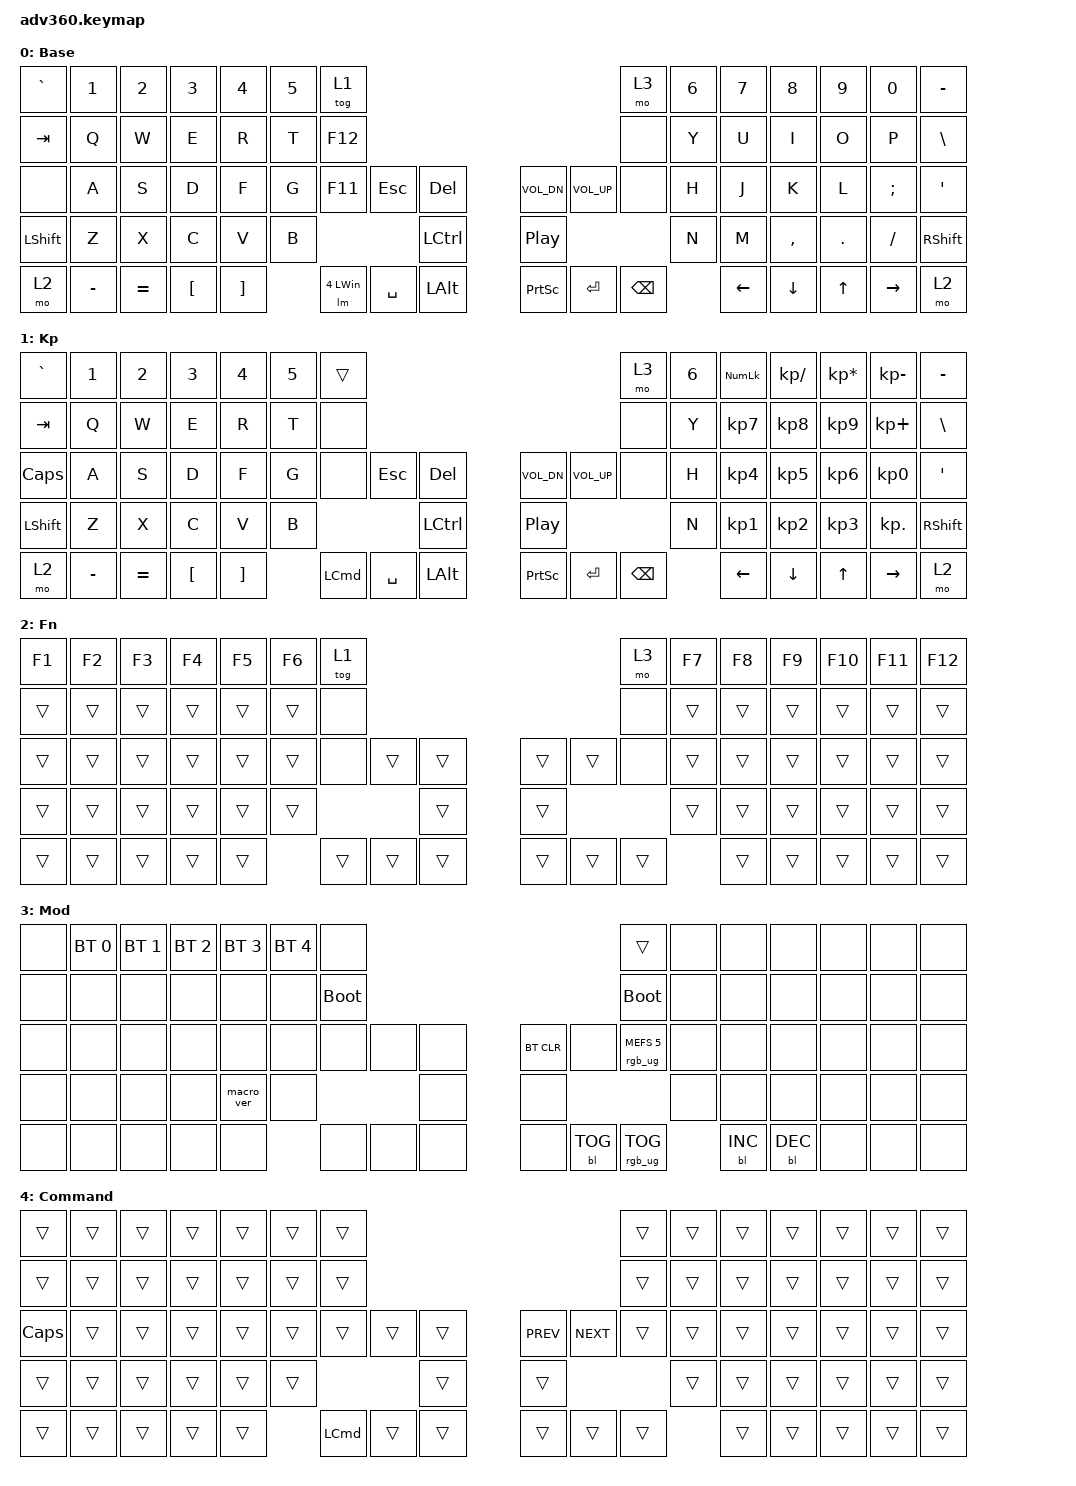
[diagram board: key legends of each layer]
#include <behaviors.dtsi>
#include <dt-bindings/zmk/keys.h>
#include <dt-bindings/zmk/bt.h>
#include <dt-bindings/zmk/rgb.h>
#include <dt-bindings/zmk/stp.h>
#include <dt-bindings/zmk/backlight.h>
#include <dt-bindings/zmk/pointing.h>

/ {
    behaviors {
      #include "macros.dtsi"
      #include "version.dtsi"

      hm: homerow_mods {
          compatible = "zmk,behavior-hold-tap";
          label = "HOMEROW_MODS";
          #binding-cells = <2>;
          tapping-term-ms = <200>;
          quick_tap_ms = <175>;
          flavor = "tap-preferred";
          bindings = <&kp>, <&kp>;
      };
    };

  keymap {
    compatible = "zmk,keymap";

    default_layer {
      display-name = "Base";
      bindings = <
        &kp GRAVE  &kp N1     &kp N2     &kp N3    &kp N4    &kp N5  &tog 1                                                                            &mo 3          &kp N6  &kp N7    &kp N8     &kp N9   &kp N0     &kp MINUS
        &kp TAB    &kp Q      &kp W      &kp E     &kp R     &kp T   &kp F12                                                                           &none          &kp Y   &kp U     &kp I      &kp O    &kp P      &kp BSLH
        &none      &kp A      &kp S      &kp D     &kp F     &kp G   &kp F11         &kp ESCAPE  &kp DELETE            &kp C_VOL_DN      &kp C_VOL_UP  &none          &kp H   &kp J     &kp K      &kp L    &kp SEMI   &kp SQT
        &kp LSHFT  &kp Z      &kp X      &kp C     &kp V     &kp B                               &kp LEFT_CONTROL      &kp C_PLAY_PAUSE                               &kp N   &kp M     &kp COMMA  &kp DOT  &kp FSLH   &kp RSHFT
        &mo 2      &kp MINUS  &kp EQUAL  &kp LBKT  &kp RBKT          &lm 4 LEFT_WIN  &kp SPACE   &kp LEFT_ALT          &kp PRINTSCREEN   &kp ENTER     &kp BACKSPACE          &kp LEFT  &kp DOWN   &kp UP   &kp RIGHT  &mo 2
      >;
    };

    keypad {
      display-name = "Kp";
      bindings = <
        &kp GRAVE  &kp N1     &kp N2     &kp N3    &kp N4    &kp N5  &trans                                                                             &mo 3          &kp N6  &kp KP_NUM  &kp KP_SLASH  &kp KP_MULTIPLY  &kp KP_MINUS     &kp MINUS
        &kp TAB    &kp Q      &kp W      &kp E     &kp R     &kp T   &none                                                                              &none          &kp Y   &kp KP_N7   &kp KP_N8     &kp KP_N9        &kp KP_PLUS      &kp BSLH
        &kp CAPS   &kp A      &kp S      &kp D     &kp F     &kp G   &none             &kp ESC    &kp DEL               &kp C_VOL_DN      &kp C_VOL_UP  &none          &kp H   &kp KP_N4   &kp KP_N5     &kp KP_N6        &kp KP_NUMBER_0  &kp SQT
        &kp LSHFT  &kp Z      &kp X      &kp C     &kp V     &kp B                                &kp LEFT_CONTROL      &kp C_PLAY_PAUSE                               &kp N   &kp KP_N1   &kp KP_N2     &kp KP_N3        &kp KP_DOT       &kp RSHFT
        &mo 2      &kp MINUS  &kp EQUAL  &kp LBKT  &kp RBKT          &kp LEFT_COMMAND  &kp SPACE  &kp LEFT_ALT          &kp PRINTSCREEN   &kp ENTER     &kp BACKSPACE          &kp LEFT    &kp DOWN      &kp UP           &kp RIGHT        &mo 2
      >;
    };

    fn {
      display-name = "Fn";
      bindings = <
        &kp F1 &kp F2 &kp F3 &kp F4 &kp F5 &kp F6 &tog 1                                           &mo 3 &kp F7 &kp F8 &kp F9 &kp F10 &kp F11 &kp F12
        &trans &trans &trans &trans &trans &trans  &none                                           &none &trans &trans &trans &trans  &trans  &trans
        &trans &trans &trans &trans &trans &trans  &none        &trans &trans &trans &trans        &none &trans &trans &trans &trans  &trans  &trans
        &trans &trans &trans &trans &trans &trans                      &trans &trans                     &trans &trans &trans &trans  &trans  &trans
        &trans &trans &trans &trans &trans               &trans &trans &trans &trans &trans &trans              &trans &trans &trans  &trans  &trans
      >;
    };

    mod {
      display-name = "Mod";
      bindings = <
        &none  &bt BT_SEL 0  &bt BT_SEL 1  &bt BT_SEL 2  &bt BT_SEL 3  &bt BT_SEL 4  &none                                                  &trans                  &none  &none       &none       &none  &none  &none
        &none  &none         &none         &none         &none         &none         &bootloader                                            &bootloader             &none  &none       &none       &none  &none  &none
        &none  &none         &none         &none         &none         &none         &none        &none  &none      &bt BT_CLR  &none       &rgb_ug RGB_MEFS_CMD 5  &none  &none       &none       &none  &none  &none
        &none  &none         &none         &none         &macro_ver    &none                             &none      &none                                           &none  &none       &none       &none  &none  &none
        &none  &none         &none         &none         &none                       &none        &none  &none      &none       &bl BL_TOG  &rgb_ug RGB_TOG                &bl BL_INC  &bl BL_DEC  &none  &none  &none
      >;
    };

    command {
      display-name = "Command";
      bindings = <
        &trans        &trans  &trans  &trans  &trans  &trans  &trans                                                        &trans  &trans  &trans  &trans  &trans  &trans  &trans
        &trans        &trans  &trans  &trans  &trans  &trans  &trans                                                        &trans  &trans  &trans  &trans  &trans  &trans  &trans
        &kp CAPSLOCK  &trans  &trans  &trans  &trans  &trans  &trans            &trans  &trans      &kp C_PREV  &kp C_NEXT  &trans  &trans  &trans  &trans  &trans  &trans  &trans
        &trans        &trans  &trans  &trans  &trans  &trans                            &trans      &trans                          &trans  &trans  &trans  &trans  &trans  &trans
        &trans        &trans  &trans  &trans  &trans          &kp LEFT_COMMAND  &trans  &trans      &trans      &trans      &trans          &trans  &trans  &trans  &trans  &trans
      >;
    };

    extra1 { 
      display-name = "Red";    
      status = "reserved";
    };

    extra2 { 
      display-name = "Purple";    
      status = "reserved";
    };

    extra3 { 
      display-name = "Cyan";    
      status = "reserved";
    };

    extra4 { 
      display-name = "Yellow";    
      status = "reserved";
    };
  };
};
